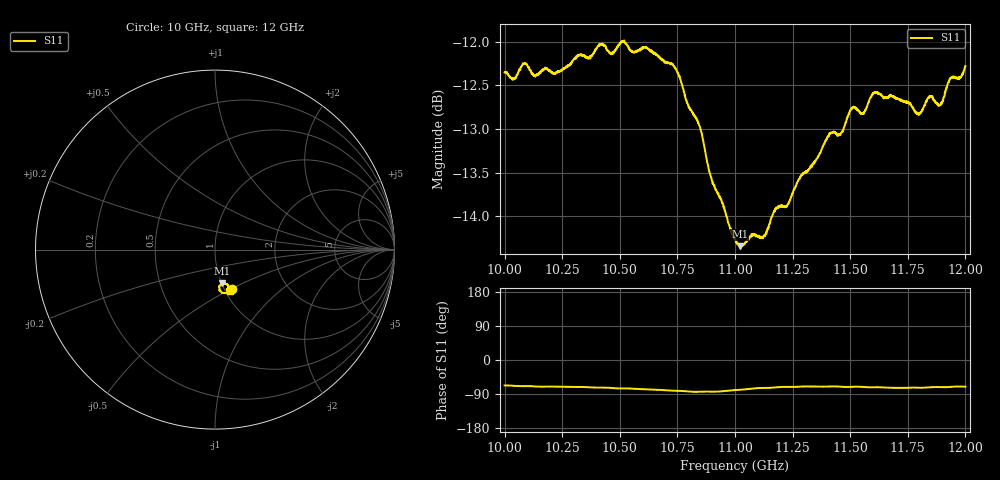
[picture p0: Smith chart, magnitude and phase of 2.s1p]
[Version] 2.0
! Rohde & Schwarz Vector Network Analyzer
! Rohde-Schwarz,ZNL20-2Port,1323001220200009,1.71.1.10-23.02.1.238
! Port Assignments:
! Nominal Port -> Actual Test Port
!  1 -> 1
! Created: GMT 2024-09-04 14:19:18
# Hz S DB R 50
[Number of Ports] 1
! freq[Hz]  S11[mag dB]  S11[ang]
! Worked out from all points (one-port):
!   2001 points, 10 GHz to 12 GHz, reference 50 ohm
!   lowest |S11| = -14.3 dB at 11.02 GHz (marker M1), VSWR 1.47, Z = 50.1 - j19.6 ohm
!   |S11| at or under -10 dB: start of sweep to end of sweep
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[Number of Frequencies] 28
[Network Data]
1e10  -12.35 -67.0
1.004e10  -12.43 -68.1
1.0087e10  -12.25 -69.0
1.0151e10  -12.36 -70.4
1.025e10  -12.32 -70.6
1.0413e10  -12.03 -72.9
1.0463e10  -12.14 -73.9
1.05e10  -12.01 -74.9
1.0616e10  -12.07 -77.2
1.075e10  -12.36 -81.3
1.0846e10  -12.97 -83.7
1.091e10  -13.64 -83.7
1.1e10  -14.25 -79.4
1.1021e10  -14.34 -78.6
1.1126e10  -14.23 -73.7
1.1175e10  -13.91 -72.3
1.125e10  -13.73 -71.1
1.1408e10  -13.07 -70.0
1.1462e10  -13.04 -70.7
1.15e10  -12.78 -71.0
1.1557e10  -12.82 -71.2
1.1609e10  -12.58 -71.9
1.175e10  -12.69 -73.3
1.1795e10  -12.82 -73.1
1.1847e10  -12.63 -72.0
1.189e10  -12.72 -71.6
1.1933e10  -12.43 -71.0
1.2e10  -12.28 -70.4
[End]
